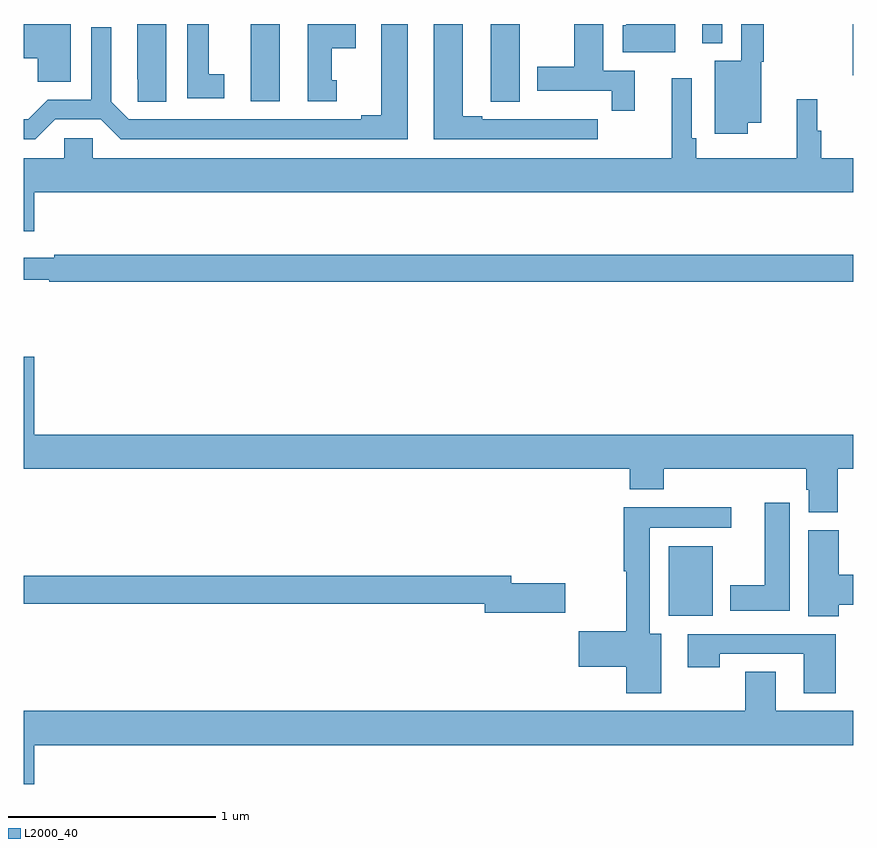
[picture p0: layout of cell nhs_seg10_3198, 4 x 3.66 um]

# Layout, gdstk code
import gdstk
lib = gdstk.Library(unit=1e-6, precision=1e-09)
def R(c, l, rs):  # rectangles x0, y0, x1, y1
    for r in rs: c.add(gdstk.rectangle(r[:2], r[2:], *l))
def P(c, l, *ps):  # polygons
    for p in ps: c.add(gdstk.Polygon(p, *l))
L2000_40 = (2000, 40)

nhs_seg10_3198 = lib.new_cell('nhs_seg10_3198')
R(nhs_seg10_3198, L2000_40, [(288.11,1259.648,288.322,1259.983), (286.094,1262.127,286.234,1262.5), (288.997,1262.252,289,1262.5), (288.272,1262.408,288.369,1262.5)])
P(nhs_seg10_3198, L2000_40, [(287.392,1262.5),(287.252,1262.5),(287.252,1262.233),(287.253,1262.233),(287.253,1262.125),(287.392,1262.125)],
  [(285.226,1262.5),(285,1262.5),(285,1262.336),(285.068,1262.336),(285.068,1262.221),(285.226,1262.221)],
  [(285.688,1262.5),(285.548,1262.5),(285.548,1262.233),(285.549,1262.233),(285.549,1262.125),(285.688,1262.125)],
  [(286.51,1262.229),(286.486,1262.229),(286.486,1262.384),(286.6,1262.384),(286.6,1262.5),(286.37,1262.5),(286.37,1262.127),(286.51,1262.127)],
  [(288.142,1262.5),(287.906,1262.5),(287.906,1262.493),(287.888,1262.493),(287.888,1262.363),(288.142,1262.363)],
  [(285.967,1262.258),(285.892,1262.258),(285.892,1262.5),(285.788,1262.5),(285.788,1262.142),(285.967,1262.142)],
  [(288.49,1262.024),(288.556,1262.024),(288.556,1262.319),(288.568,1262.319),(288.568,1262.5),(288.459,1262.5),(288.459,1262.323),(288.332,1262.323),(288.332,1261.971),(288.49,1261.971)],
  [(287.767,1262.04),(287.654,1262.04),(287.654,1262.041),(287.488,1262.041),(287.488,1262.04),(287.212,1262.04),(287.212,1262.055),(287.116,1262.055),(287.116,1262.5),(286.976,1262.5),(286.976,1261.944),(287.767,1261.944)],
  [(287.945,1262.274),(287.794,1262.274),(287.794,1262.5),(287.654,1262.5),(287.654,1262.295),(287.477,1262.295),(287.477,1262.178),(287.836,1262.178),(287.836,1262.082),(287.945,1262.082)],
  [(285.153,1262.04),(285.371,1262.04),(285.467,1261.944),(286.852,1261.944),(286.852,1262.5),(286.724,1262.5),(286.724,1262.06),(286.628,1262.06),(286.628,1262.04),(285.507,1262.04),(285.423,1262.124),(285.423,1262.485),(285.327,1262.485),(285.327,1262.136),(285.117,1262.136),(285.021,1262.04),(285,1262.04),(285,1261.944),(285.057,1261.944)],
  [(285.052,1261.688),(289,1261.688),(289,1261.852),(288.845,1261.852),(288.845,1261.986),(288.826,1261.986),(288.826,1262.137),(288.727,1262.137),(288.727,1261.852),(288.242,1261.852),(288.242,1261.948),(288.222,1261.948),(288.222,1262.239),(288.125,1262.239),(288.125,1261.852),(285.333,1261.852),(285.333,1261.95),(285.195,1261.95),(285.195,1261.852),(285,1261.852),(285,1261.5),(285.052,1261.5)],
  [(289,1261.387),(285.148,1261.387),(285.148,1261.374),(285,1261.374),(285,1261.266),(285.124,1261.266),(285.124,1261.258),(289,1261.258)],
  [(288.926,1260.356),(289,1260.356),(289,1260.52),(285.052,1260.52),(285.052,1260.895),(285,1260.895),(285,1260.356),(287.921,1260.356),(287.921,1260.257),(288.086,1260.257),(288.086,1260.356),(288.773,1260.356),(288.773,1260.255),(288.785,1260.255),(288.785,1260.145),(288.926,1260.145)],
  [(288.694,1260.193),(288.572,1260.193),(288.572,1259.794),(288.407,1259.794),(288.407,1259.672),(288.694,1259.672)],
  [(288.073,1259.56),(288.019,1259.56),(288.019,1260.072),(288.412,1260.072),(288.412,1260.17),(287.894,1260.17),(287.894,1259.861),(287.906,1259.861),(287.906,1259.573),(287.676,1259.573),(287.676,1259.402),(287.906,1259.402),(287.906,1259.274),(288.073,1259.274)],
  [(288.929,1259.699),(289,1259.699),(289,1259.846),(288.929,1259.846),(288.929,1260.06),(288.782,1260.06),(288.782,1259.644),(288.929,1259.644)],
  [(287.611,1259.804),(287.35,1259.804),(287.35,1259.84),(285,1259.84),(285,1259.704),(287.222,1259.704),(287.222,1259.662),(287.611,1259.662)],
  [(288.914,1259.559),(288.201,1259.559),(288.201,1259.4),(288.357,1259.4),(288.357,1259.463),(288.761,1259.463),(288.761,1259.274),(288.914,1259.274)],
  [(285.052,1259.024),(289,1259.024),(289,1259.188),(288.625,1259.188),(288.625,1259.378),(288.478,1259.378),(288.478,1259.188),(285,1259.188),(285,1258.836),(285.052,1258.836)])

lib.write_gds('nhs_seg10_3198.gds')
